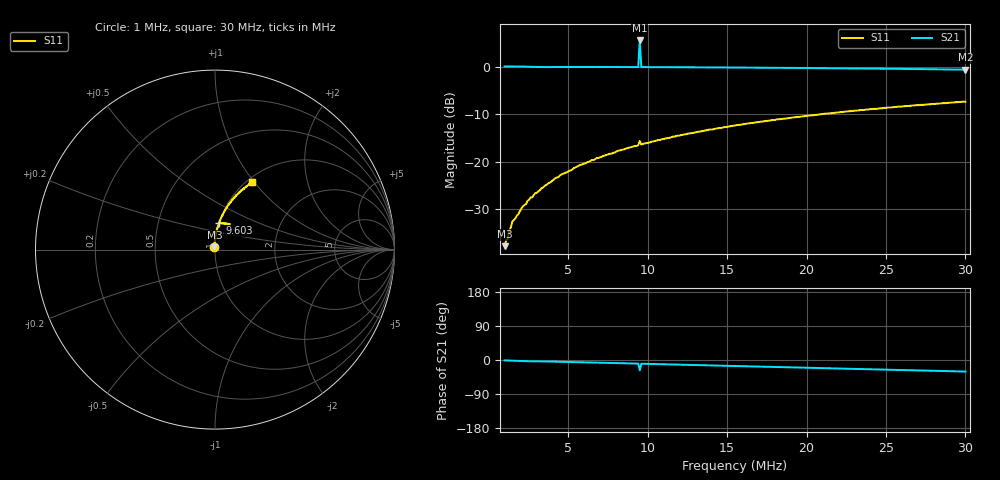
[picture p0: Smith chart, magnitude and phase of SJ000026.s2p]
!File created by NanoVNA-F V2
# Hz S RI R 50
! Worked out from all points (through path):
!   301 points, 1 MHz to 30 MHz, reference 50 ohm
!   highest |S21| = 5.53 dB at 9.507 MHz (marker M1); lowest = -0.6 dB at 30 MHz (marker M2)
!   group delay of S21, straight-line fit = 2.79 ns
!   lowest |S11| = -37.8 dB at 1 MHz (marker M3), VSWR 1.03, Z = 49.6 + j1.23 ohm
!   |S11| at or under -10 dB: start of sweep to 20.97 MHz
!   S12 and S22 are empty: the file has one direction only
!   S11 on the Smith chart (normalised r, x): 1 MHz: 0.99, +0.02; 9.603 MHz: 1.00, +0.31; 30 MHz: 1.07, +0.98
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1000000  -0.00348 0.0124  1.005 -0.0183  0 0  0 0
1096666  -0.00381 0.0143  1.006 -0.0211  0 0  0 0
1193332  -0.00348 0.015  1.006 -0.023  0 0  0 0
1289998  -0.00337 0.0184  1.006 -0.0257  0 0  0 0
1386664  -0.00322 0.0198  1.006 -0.0279  0 0  0 0
1483330  -0.00414 0.023  1.005 -0.0306  0 0  0 0
2159992  -0.00157 0.0339  1.003 -0.0499  0 0  0 0
2353324  -0.0028 0.0357  0.9989 -0.0541  0 0  0 0
2643322  -5.5e-05 0.0421  0.9946 -0.0585  0 0  0 0
2739988  0.000594 0.042  0.9937 -0.0581  0 0  0 0
2933320  -8.2e-05 0.0466  0.9909 -0.0614  0 0  0 0
4189978  0.00159 0.0672  0.9891 -0.0754  0 0  0 0
5833300  0.0053 0.0928  0.9884 -0.1036  0 0  0 0
6799960  0.0101 0.1087  0.985 -0.1199  0 0  0 0
9409942  0.022 0.1474  0.9771 -0.1644  0 0  0 0
9506608  0.0835 0.1424  1.678 -0.8683  0 0  0 0
9603274  0.0241 0.1495  0.9764 -0.1684  0 0  0 0
1.06666e7  0.0294 0.1665  0.9709 -0.1876  0 0  0 0
1.54999e7  0.0632 0.2315  0.9425 -0.2675  0 0  0 0
2.03332e7  0.1067 0.2891  0.904 -0.3427  0 0  0 0
2.51665e7  0.1566 0.3378  0.8566 -0.4127  0 0  0 0
2.99998e7  0.2084 0.3742  0.8025 -0.473  0 0  0 0
